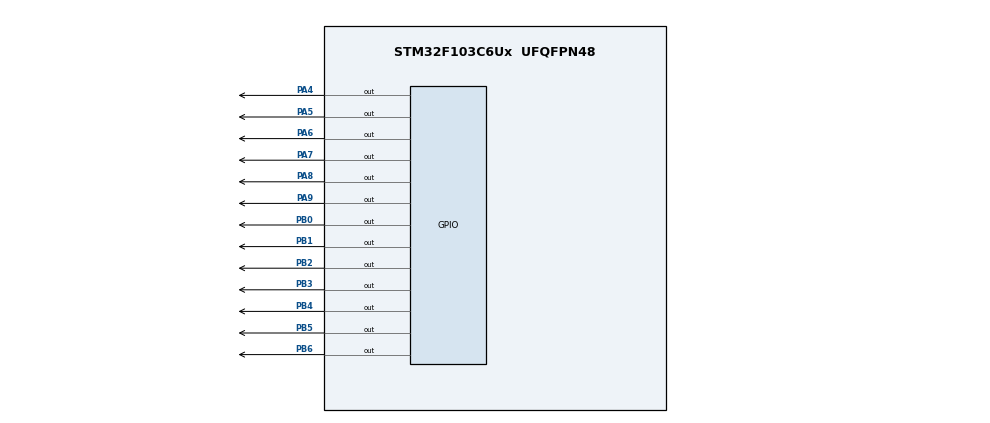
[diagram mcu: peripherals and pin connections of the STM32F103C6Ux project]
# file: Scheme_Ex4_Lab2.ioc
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Mcu.Family=STM32F1
Mcu.Name=STM32F103C6Ux
Mcu.Package=UFQFPN48
NVIC.PriorityGroup=NVIC_PRIORITYGROUP_4
NVIC.TIM2_IRQn=true\:0\:0\:false\:false\:true\:true\:true
PA13.Mode=Serial_Wire
PA13.Signal=SYS_JTMS-SWDIO
PA14.Mode=Serial_Wire
PA14.Signal=SYS_JTCK-SWCLK
PA4.Signal=GPIO_Output
PA5.Signal=GPIO_Output
PA6.Signal=GPIO_Output
PA7.Signal=GPIO_Output
PA8.Signal=GPIO_Output
PA9.Signal=GPIO_Output
PB0.Signal=GPIO_Output
PB1.Signal=GPIO_Output
PB2.Signal=GPIO_Output
PB3.Signal=GPIO_Output
PB4.Signal=GPIO_Output
PB5.Signal=GPIO_Output
PB6.Signal=GPIO_Output
ProjectManager.HeapSize=0x200
ProjectManager.StackSize=0x400
ProjectManager.TargetToolchain=STM32CubeIDE
RCC.APB1Freq_Value=8000000
RCC.APB2Freq_Value=8000000
TIM2.Period=9
TIM2.Prescaler=7999
VP_TIM2_VS_ClockSourceINT.Mode=Internal
board=custom

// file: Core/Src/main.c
/* USER CODE BEGIN Header */
/**
  ******************************************************************************
  * @file           : main.c
  * @brief          : Main program body - Lab 2 Exercise 3
  ******************************************************************************
  * @attention
  *
  * <h2><center>&copy; Copyright (c) 2026 STMicroelectronics.
  * All rights reserved.</center></h2>
  *
  * This software component is licensed by ST under BSD 3-Clause license,
  * the "License"; You may not use this file except in compliance with the
  * License. You may obtain a copy of the License at:
  *                        opensource.org/licenses/BSD-3-Clause
  *
  ******************************************************************************
  */
/* USER CODE END Header */
#include "main.h"

TIM_HandleTypeDef htim2;

/* USER CODE BEGIN PV */
const int MAX_LED = 4;
int led_buffer[4] = {1, 2, 3, 0};

int led_counter = 10;  // 10 * 10ms = 100ms
int dot_counter = 100; // 100 * 10ms = 1000ms = 1s
int led_index = 0;
/* USER CODE END PV */

void SystemClock_Config(void);
static void MX_GPIO_Init(void);
static void MX_TIM2_Init(void);
/* USER CODE BEGIN PFP */
void display7SEG(int num);
void update7SEG(int index);
/* USER CODE END PFP */

/* USER CODE BEGIN 0 */
static const uint8_t seg_code[10] = {
    0b1000000, // 0: a,b,c,d,e,f
    0b1111001, // 1: b,c
    0b0100100, // 2: a,b,d,e,g
    0b0110000, // 3: a,b,c,d,g
    0b0011001, // 4: b,c,f,g
    0b0010010, // 5: a,c,d,f,g
    0b0000010, // 6: a,c,d,e,f,g
    0b1111000, // 7: a,b,c
    0b0000000, // 8: a,b,c,d,e,f,g
    0b0010000  // 9: a,b,c,d,f,g
};

void display7SEG(int num)
{
    if (num < 0 || num > 9) return;
    uint8_t code = seg_code[num];
    HAL_GPIO_WritePin(GPIOB, GPIO_PIN_0, (code & 0x01) ? GPIO_PIN_SET : GPIO_PIN_RESET);
    HAL_GPIO_WritePin(GPIOB, GPIO_PIN_1, (code & 0x02) ? GPIO_PIN_SET : GPIO_PIN_RESET);
    HAL_GPIO_WritePin(GPIOB, GPIO_PIN_2, (code & 0x04) ? GPIO_PIN_SET : GPIO_PIN_RESET);
    HAL_GPIO_WritePin(GPIOB, GPIO_PIN_3, (code & 0x08) ? GPIO_PIN_SET : GPIO_PIN_RESET);
    HAL_GPIO_WritePin(GPIOB, GPIO_PIN_4, (code & 0x10) ? GPIO_PIN_SET : GPIO_PIN_RESET);
    HAL_GPIO_WritePin(GPIOB, GPIO_PIN_5, (code & 0x20) ? GPIO_PIN_SET : GPIO_PIN_RESET);
    HAL_GPIO_WritePin(GPIOB, GPIO_PIN_6, (code & 0x40) ? GPIO_PIN_SET : GPIO_PIN_RESET);
}

void update7SEG(int index)
{
    if (index < 0 || index > 3) return;
    HAL_GPIO_WritePin(GPIOA, GPIO_PIN_6 | GPIO_PIN_7 | GPIO_PIN_8 | GPIO_PIN_9, GPIO_PIN_SET); // Tắt hết 4 LED chống bóng mờ

    switch(index)
    {
    case 0:
        display7SEG(led_buffer[0]);
        HAL_GPIO_WritePin(GPIOA, GPIO_PIN_6, GPIO_PIN_RESET);
        break;
    case 1:
        display7SEG(led_buffer[1]);
        HAL_GPIO_WritePin(GPIOA, GPIO_PIN_7, GPIO_PIN_RESET);
        break;
    case 2:
        display7SEG(led_buffer[2]);
        HAL_GPIO_WritePin(GPIOA, GPIO_PIN_8, GPIO_PIN_RESET);
        break;
    case 3:
        display7SEG(led_buffer[3]);
        HAL_GPIO_WritePin(GPIOA, GPIO_PIN_9, GPIO_PIN_RESET);
        break;
    default:
        break;
    }
}
/* USER CODE END 0 */

int main(void)
{
  HAL_Init();
  SystemClock_Config();
  MX_GPIO_Init();
  MX_TIM2_Init();

  /* USER CODE BEGIN 2 */
  HAL_TIM_Base_Start_IT(&htim2);
  /* USER CODE END 2 */

  while (1)
  {
  }
}

/* USER CODE BEGIN 4 */
void HAL_TIM_PeriodElapsedCallback(TIM_HandleTypeDef *htim)
{
    if (htim->Instance == TIM2)
    {
        // 1. Chớp tắt đèn DOT mỗi 1 giây (100 * 10ms = 1000ms)
        dot_counter--;
        if (dot_counter <= 0)
        {
            dot_counter = 100;
            HAL_GPIO_TogglePin(GPIOA, GPIO_PIN_4);
        }

        // 2. Quét chuyển LED mỗi 500ms (50 * 10ms = 500ms)
        led_counter--;
        if (led_counter <= 0)
        {
            led_counter = 10;

            update7SEG(led_index);

            led_index++;
            if (led_index >= MAX_LED)
            {
                led_index = 0;
            }

            HAL_GPIO_TogglePin(GPIOA, GPIO_PIN_5);
        }
    }
}
/* USER CODE END 4 */
